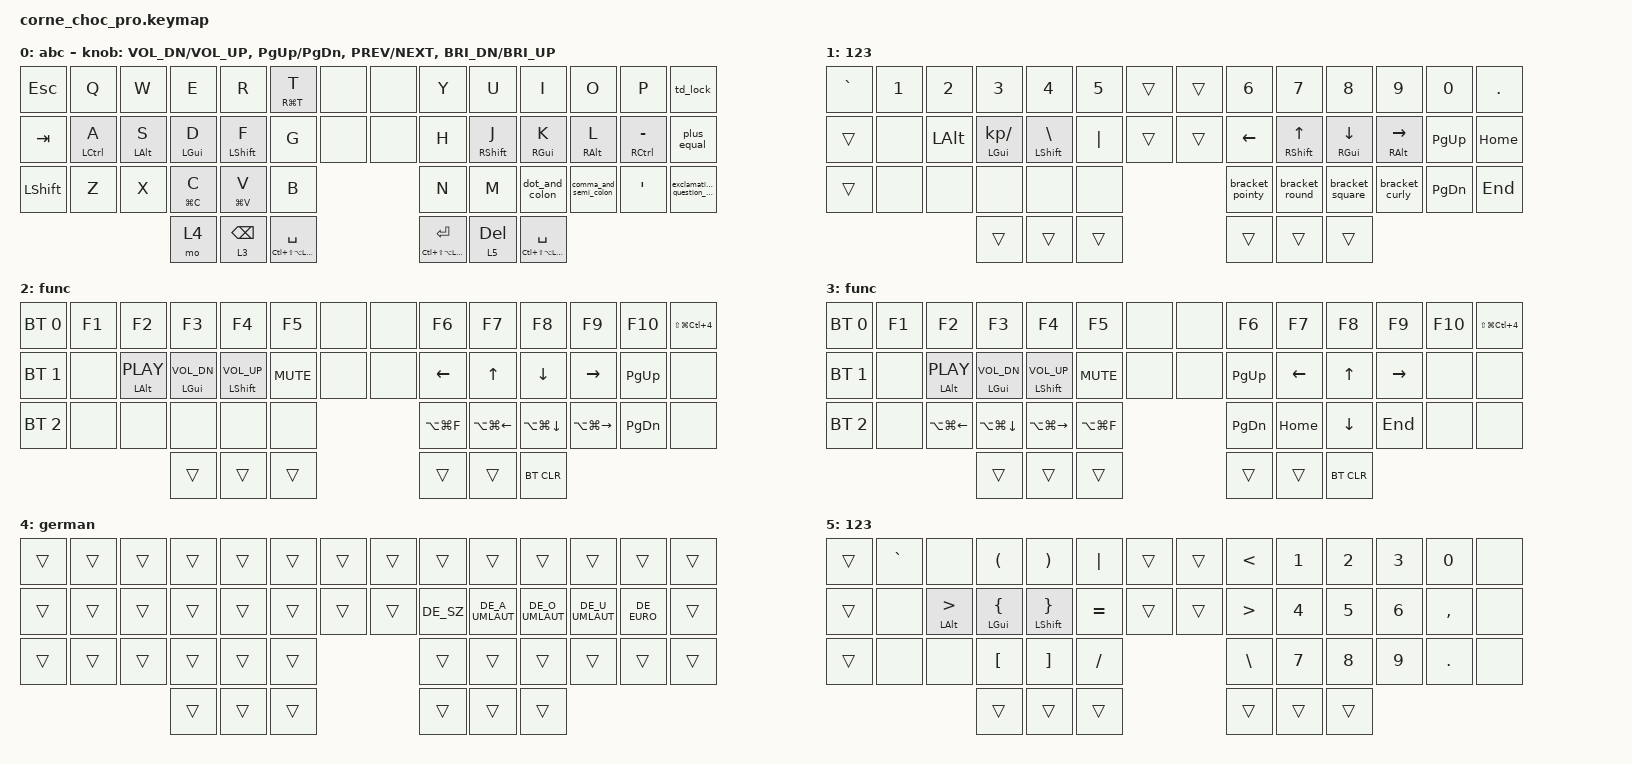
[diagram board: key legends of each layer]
/*
 * Copyright (c) 2020 The ZMK Contributors
 *
 * SPDX-License-Identifier: MIT
 */

#include <behaviors.dtsi>
#include <dt-bindings/zmk/bt.h>
#include <dt-bindings/zmk/keys.h>
#include "zmk-helpers/helper.h"
#include "zmk-helpers/key-labels/42.h"
#include "zmk-helpers/unicode-chars/german.dtsi"
#include "keys_de.h"

// Shortcuts

#define HYPER LC(LS(LA(LGUI)))

/ {
    chosen { zmk,physical-layout = &default_layout; };
};

/ {
    behaviors {
        long_press: long_press {
            compatible = "zmk,behavior-hold-tap";
            label = "LONG_PRESS";
            bindings = <&kp>, <&kp>;

            #binding-cells = <2>;
            tapping-term-ms = <250>;
            flavor = "tap-preferred";
        };

        home_row_shift_right: home_row_shift_right {
            compatible = "zmk,behavior-hold-tap";
            label = "HOME_ROW_SHIFT_RIGHT";
            bindings = <&kp>, <&kp>;

            #binding-cells = <2>;
            tapping-term-ms = <200>;
            hold-while-undecided;
            hold-trigger-key-positions = <0 1 2 3 4 5 6 14 15 16 17 18 19 20 28 29 30 31 32 33 40 41 42>;
            hold-trigger-on-release;
        };

        home_row_shift_left: home_row_shift_left {
            compatible = "zmk,behavior-hold-tap";
            label = "HOME_ROW_SHIFT_LEFT";
            bindings = <&kp>, <&kp>;

            #binding-cells = <2>;
            tapping-term-ms = <200>;
            hold-while-undecided;
            hold-trigger-on-release;
            hold-trigger-key-positions = <7 8 9 10 11 12 13 21 22 23 24 25 26 27 34 35 36 37 38 39 43 44 45>;
        };

        home_row_right: home_row_right {
            compatible = "zmk,behavior-hold-tap";
            label = "HOME_ROW_RIGHT";
            bindings = <&kp>, <&kp>;

            #binding-cells = <2>;
            tapping-term-ms = <200>;
            hold-while-undecided;
            hold-trigger-key-positions = <0 1 2 3 4 5 6 14 15 16 17 18 19 20 28 29 30 31 32 33 40 41 42>;
            hold-trigger-on-release;
            flavor = "tap-preferred";
        };

        home_row_left: home_row_left {
            compatible = "zmk,behavior-hold-tap";
            label = "HOME_ROW_LEFT";
            bindings = <&kp>, <&kp>;

            #binding-cells = <2>;
            tapping-term-ms = <200>;
            hold-while-undecided;
            hold-trigger-on-release;
            hold-trigger-key-positions = <7 8 9 10 11 12 13 21 22 23 24 25 26 27 34 35 36 37 38 39 43 44 45>;
            flavor = "tap-preferred";
        };

        comma_and_semi_colon: comma_and_semi_colon {
            compatible = "zmk,behavior-mod-morph";
            label = "COMMA_AND_SEMI_COLON";
            bindings = <&kp COMMA>, <&kp SEMI>;

            #binding-cells = <0>;
            mods = <(MOD_LSFT)>;
        };

        dot_and_colon: dot_and_colon {
            compatible = "zmk,behavior-mod-morph";
            label = "DOT_AND_COLON";
            bindings = <&kp PERIOD>, <&kp COLON>;

            #binding-cells = <0>;
            mods = <(MOD_LSFT)>;
        };

        bracket_pointy: bracket_pointy {
            compatible = "zmk,behavior-mod-morph";
            label = "BRACKET_POINTY";
            bindings = <&kp LESS_THAN>, <&kp GREATER_THAN>;

            #binding-cells = <0>;
            mods = <(MOD_LSFT)>;
        };

        bracket_round: bracket_round {
            compatible = "zmk,behavior-mod-morph";
            label = "BRACKET_ROUND";
            bindings = <&kp LEFT_PARENTHESIS>, <&kp RIGHT_PARENTHESIS>;

            #binding-cells = <0>;
            mods = <(MOD_LSFT)>;
        };

        bracket_square: bracket_square {
            compatible = "zmk,behavior-mod-morph";
            label = "BRACKET_SQUARE";
            bindings = <&kp LEFT_BRACKET>, <&kp RIGHT_BRACKET>;

            #binding-cells = <0>;
            mods = <(MOD_LSFT)>;
        };

        bracket_curly: bracket_curly {
            compatible = "zmk,behavior-mod-morph";
            label = "BRACKET_CURLY";
            bindings = <&kp LEFT_BRACE>, <&kp RIGHT_BRACE>;

            #binding-cells = <0>;
            mods = <(MOD_LSFT)>;
        };

        plus_equal: plus_equal {
            compatible = "zmk,behavior-mod-morph";
            label = "PLUS_EQUAL";
            bindings = <&kp PLUS>, <&kp KP_EQUAL>;

            #binding-cells = <0>;
            mods = <(MOD_LSFT)>;
        };

        exclamation_and_question_mark: exclamation_and_question_mark {
            compatible = "zmk,behavior-mod-morph";
            label = "EXCLAMATION_AND_QUESTION_MARK";
            bindings = <&kp EXCL>, <&kp QUESTION>;

            #binding-cells = <0>;
            mods = <(MOD_LSFT)>;
        };

        hm_left: hm_left {
            compatible = "zmk,behavior-hold-tap";
            label = "HM_LEFT";
            bindings = <&kp>, <&kp>;

            #binding-cells = <2>;
            flavor = "balanced";
            tapping-term-ms = <200>;
            quick-tap-ms = <100>;
            require-prior-idle-ms = <80>;
            hold-trigger-on-release;
            hold-trigger-key-positions = <7 8 9 11 12 13 22 23 24 25 26 27 10 21 21 34 35 36 37 38 39 43 44 45 40 41 42 14>;
        };

        hm_right: hm_right {
            compatible = "zmk,behavior-hold-tap";
            label = "HM_RIGHT";
            bindings = <&kp>, <&kp>;

            #binding-cells = <2>;
            flavor = "balanced";
            tapping-term-ms = <280>;
            quick-tap-ms = <175>;
            require-prior-idle-ms = <150>;
            hold-trigger-on-release;
            hold-trigger-key-positions = <0 1 2 3 4 5 6 14 15 16 17 18 19 20 28 29 30 31 32 33 40 41 42 43 44 45>;
        };

        td_lock: td_lock {
            compatible = "zmk,behavior-tap-dance";
            label = "TD_LOCK";
            #binding-cells = <0>;
            bindings = <&none>, <&kp LC(LG(Q))>;
        };

        tp: tp {
            compatible = "zmk,behavior-hold-tap";
            label = "TP";
            bindings = <&kp>, <&kp>;

            #binding-cells = <2>;
            flavor = "tap-preferred";
            tapping-term-ms = <150>;
        };
    };

    macros {
        launchpad: launchpad {
            compatible = "zmk,behavior-macro";
            #binding-cells = <0>;
            bindings = <&macro_tap>, <&kp GLOBE &kp F3>;

            label = "LAUNCHPAD";
        };
    };

    keymap {
        compatible = "zmk,keymap";

        letters {
            display-name = "abc";

            // --------------------------------------------------------------------------------
            // |  TAB |  Q  |  W  |  E  |  R  |  T  |  MUTE |  PP   |  Y  |  U   |  I  |  O  |  P  | BSPC |
            // | CTRL |  A  |  S  |  D  |  F  |  G  |  LALT |  RALT |  H  |  J   |  K  |  L  |  ;  |  '   |
            // | SHFT |  Z  |  X  |  C  |  V  |  B  |               |  N  |  M   |  ,  |  .  |  /  | ESC  |
            //                    | GUI | LWR | SPC |               | ENT | RSE  | ALT |

            bindings = <
&kp ESCAPE      &kp Q                    &kp W                &kp E                &kp R                  &long_press RG(T) T  &none  &none  &kp Y            &kp U                    &kp I                  &kp O                  &kp P                          &td_lock
&kp TAB         &hm_left LEFT_CONTROL A  &hm_left LEFT_ALT S  &hm_left LEFT_GUI D  &hm_left LEFT_SHIFT F  &kp G                &none  &none  &kp H            &hm_right RIGHT_SHIFT J  &hm_right RIGHT_GUI K  &hm_right RIGHT_ALT L  &hm_right RIGHT_CONTROL MINUS  &plus_equal
&kp LEFT_SHIFT  &kp Z                    &kp X                &long_press LG(C) C  &long_press LG(V) V    &kp B                              &kp N            &kp M                    &dot_and_colon         &comma_and_semi_colon  &kp SINGLE_QUOTE               &exclamation_and_question_mark
                                                              &mo 4                &lt 3 BACKSPACE        &tp HYPER SPACE                    &tp HYPER ENTER  &lt 5 DELETE             &tp HYPER SPACE
            >;

            sensor-bindings = <&inc_dec_kp C_VOL_DN C_VOL_UP &inc_dec_kp PG_UP PG_DN &inc_dec_kp C_PREV C_NEXT &inc_dec_kp C_BRI_DN C_BRI_UP>;
        };

        numbers {
            display-name = "123";

            // -----------------------------------------------------------------------------------------
            // |  TAB |  1  |  2  |  3  |  4  |  5    |  LCTRL | RCTRL |  6  |  7  |  8  |  9  |  0  | BSPC |
            // | CTRL | BT1 | BT2 | BT3 | BT4 | BT5   |  LALT  | RALT  | LFT | DWN |  UP | RGT |     |      |
            // | SHFT | BTCR| RGB | RST | BOOT| Unlock|        |       |     |     |     |     |     |      |
            //                    | GUI |     | SPC   |        | ENT   |     | ALT |

            bindings = <
&kp GRAVE  &kp N1  &kp N2        &kp N3                            &kp N4                                     &kp N5    &trans  &trans  &kp N6           &kp N7                                &kp N8                          &kp N9                                 &kp N0         &kp DOT
&trans     &none   &kp LEFT_ALT  &home_row_left LEFT_GUI KP_SLASH  &home_row_shift_left LEFT_SHIFT BACKSLASH  &kp PIPE  &trans  &trans  &kp LEFT_ARROW   &home_row_shift_right RIGHT_SHIFT UP  &home_row_right RIGHT_GUI DOWN  &home_row_right RIGHT_ALT RIGHT_ARROW  &kp PAGE_UP    &kp HOME
&trans     &none   &none         &none                             &none                                      &none                     &bracket_pointy  &bracket_round                        &bracket_square                 &bracket_curly                         &kp PAGE_DOWN  &kp END
                                 &trans                            &trans                                     &trans                    &trans           &trans                                &trans
            >;
        };

        functions {
            display-name = "func";

            // -----------------------------------------------------------------------------------------
            // |  TAB |  !  |  @  |  #  |  $  |  %  | LCTRL | RCTRL |  ^  |  &  |  *  |  (  |  )  | BSPC |
            // | CTRL |     |     |     |     |     |  LALT | RALT  |  -  |  =  |  [  |  ]  |  \  |  `   |
            // | SHFT |     |     |     |     |     |               |  _  |  +  |  {  |  }  | "|" |  ~   |
            //                    | GUI |     | SPC |               | ENT |     | ALT |

            bindings = <
&bt BT_SEL 0  &kp F1  &kp F2                    &kp F3                      &kp F4                        &kp F5      &none  &none  &kp F6          &kp F7                  &kp F8                  &kp F9                   &kp F10        &kp LS(LG(LC(NUMBER_4)))
&bt BT_SEL 1  &none   &hm_left LEFT_ALT C_PLAY  &hm_left LEFT_GUI C_VOL_DN  &hm_left LEFT_SHIFT C_VOL_UP  &kp C_MUTE  &none  &none  &kp LEFT_ARROW  &kp UP_ARROW            &kp DOWN_ARROW          &kp RIGHT_ARROW          &kp PG_UP      &none
&bt BT_SEL 2  &none   &none                     &none                       &none                         &none                     &kp LA(LG(F))   &kp LA(LG(LEFT_ARROW))  &kp LA(LG(DOWN_ARROW))  &kp LA(LG(RIGHT_ARROW))  &kp PAGE_DOWN  &none
                                                &trans                      &trans                        &trans                    &trans          &trans                  &bt BT_CLR
            >;
        };

        functions_alt {
            display-name = "func";
            bindings = <
&bt BT_SEL 0  &kp F1  &kp F2                    &kp F3                      &kp F4                        &kp F5         &none  &none  &kp F6     &kp F7    &kp F8      &kp F9           &kp F10  &kp LS(LG(LC(NUMBER_4)))
&bt BT_SEL 1  &none   &hm_left LEFT_ALT C_PLAY  &hm_left LEFT_GUI C_VOL_DN  &hm_left LEFT_SHIFT C_VOL_UP  &kp C_MUTE     &none  &none  &kp PG_UP  &kp LEFT  &kp UP      &kp RIGHT_ARROW  &none    &none
&bt BT_SEL 2  &none   &kp LA(LG(LEFT))          &kp LA(LG(DOWN))            &kp LA(LG(RIGHT))             &kp LA(LG(F))                &kp PG_DN  &kp HOME  &kp DOWN    &kp END          &none    &none
                                                &trans                      &trans                        &trans                       &trans     &trans    &bt BT_CLR
            >;
        };

        german {
            display-name = "german";
            bindings = <
&trans  &trans  &trans  &trans  &trans  &trans  &trans  &trans  &trans     &trans           &trans           &trans           &trans       &trans
&trans  &trans  &trans  &trans  &trans  &trans  &trans  &trans  &kp DE_SZ  &kp DE_A_UMLAUT  &kp DE_O_UMLAUT  &kp DE_U_UMLAUT  &kp DE_EURO  &trans
&trans  &trans  &trans  &trans  &trans  &trans                  &trans     &trans           &trans           &trans           &trans       &trans
                        &trans  &trans  &trans                  &trans     &trans           &trans
            >;
        };

        numbers_alt {
            display-name = "123";
            bindings = <
&trans  &kp GRAVE  &none                           &kp LEFT_PARENTHESIS          &kp RIGHT_PARENTHESIS            &kp PIPE   &trans  &trans  &kp LESS_THAN     &kp N1        &kp N2        &kp N3  &kp N0     &none
&trans  &none      &hm_left LEFT_ALT GREATER_THAN  &hm_left LEFT_GUI LEFT_BRACE  &hm_left LEFT_SHIFT RIGHT_BRACE  &kp EQUAL  &trans  &trans  &kp GREATER_THAN  &kp NUMBER_4  &kp NUMBER_5  &kp N6  &kp COMMA  &none
&trans  &none      &none                           &kp LEFT_BRACKET              &kp RIGHT_BRACKET                &kp SLASH                  &kp BACKSLASH     &kp N7        &kp N8        &kp N9  &kp DOT    &none
                                                   &trans                        &trans                           &trans                     &trans            &trans        &trans
            >;
        };
    };
};
